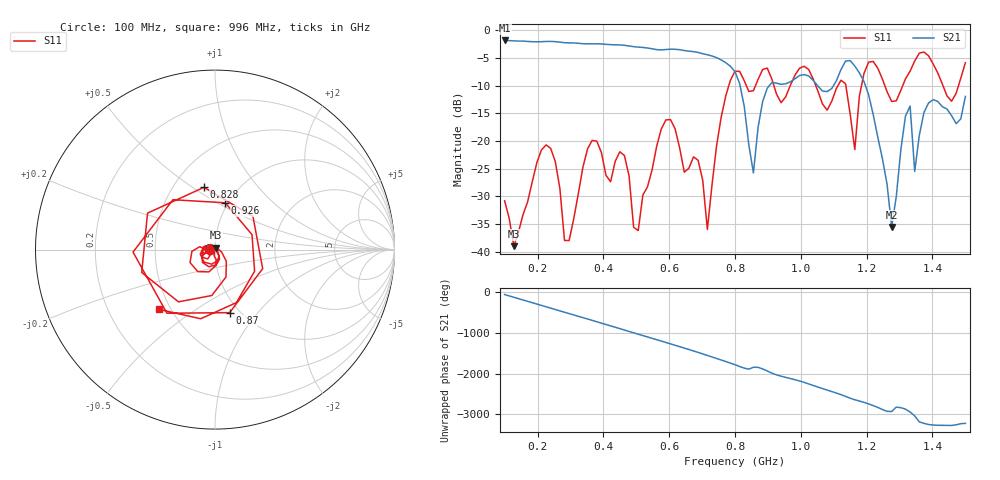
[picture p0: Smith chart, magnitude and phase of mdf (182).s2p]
! NanoVNA-App
! Date: 2025-09-25 15:39:50
! Start: 100MHz Stop: 1,5GHz Points: 101
! S-Parameter data: F S11 S21 S12 S22
# Hz S RI R 50
!  Frequency  S11_Real  S11_Imag  S21_Real  S21_Imag  S12_Real  S12_Imag  S22_Real  S22_Imag
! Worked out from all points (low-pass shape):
!   101 points, 100 MHz to 1.5 GHz, reference 50 ohm
!   highest |S21| = -1.80 dB at 100 MHz (marker M1); lowest = -35.5 dB at 1.276 GHz (marker M2)
!   |S21| within 3 dB of the highest: start of sweep to 739.2 MHz
!   lowest |S11| = -39.0 dB at 128 MHz (marker M3), VSWR 1.02, Z = 50.4 + j1.07 ohm
!   |S11| at or under -10 dB: start of sweep to 781 MHz; 1.046 GHz to 1.113 GHz (66.91 MHz wide, 6.2 % of centre); 1.255 GHz to 1.309 GHz (53.98 MHz wide, 4.21 % of centre) (the widest 3 of 7)
!   S12 and S22 are empty: the file has one direction only
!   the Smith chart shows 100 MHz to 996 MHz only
!   S11 on the Smith chart (normalised r, x): 100 MHz: 0.94, -0.01; 828 MHz: 0.70, +0.56; 870 MHz: 0.90, -0.73; 926 MHz: 0.97, +0.54; 996 MHz: 0.43, -0.36
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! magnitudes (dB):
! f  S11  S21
! 100 MHz  -30.8  -1.8
! 128 MHz  -39.0  -1.9
! 212 MHz  -21.6  -2.0
! 282 MHz  -38.0  -2.2
! 338 MHz  -24.7  -2.4
! 464 MHz  -22.6  -2.7
! 506 MHz  -36.2  -3.0
! 576 MHz  -17.8  -3.5
! 716 MHz  -36.0  -4.4
! 800 MHz  -7.4  -7.5
! 828 MHz  -9.1  -13.7
! 856 MHz  -10.9  -25.7
! 870 MHz  -8.9  -17.6
! 926 MHz  -11.5  -9.5
! 996 MHz  -6.8  -8.1
! 1.038 GHz  -8.8  -9.0
! 1.164 GHz  -21.5  -6.4
! 1.178 GHz  -11.8  -7.7
! 1.276 GHz  -12.8  -35.5
! 1.332 GHz  -7.4  -13.7
! 1.346 GHz  -5.5  -25.5
! 1.5 GHz  -5.8  -11.9
